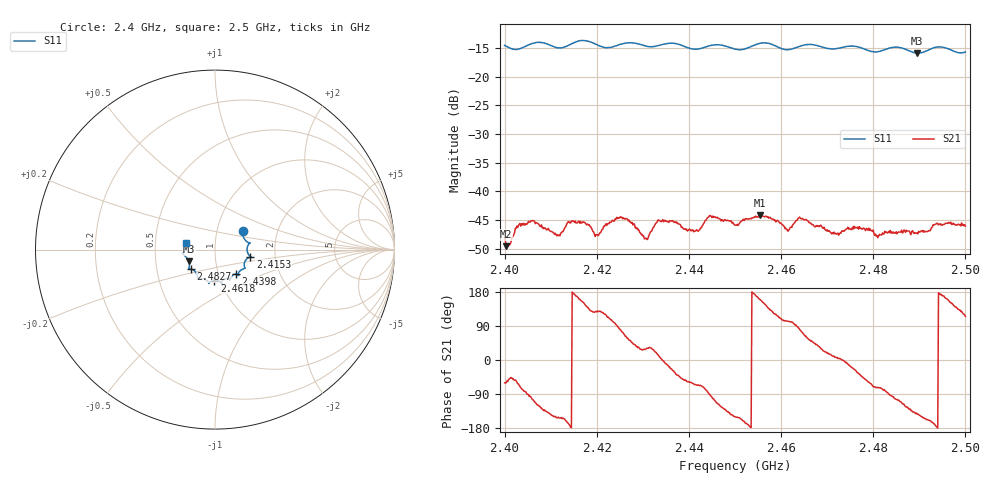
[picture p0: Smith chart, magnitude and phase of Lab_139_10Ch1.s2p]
# Hz S RI R 50
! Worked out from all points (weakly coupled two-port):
!   601 points, 2.4 GHz to 2.5 GHz, reference 50 ohm
!   highest |S21| = -44.18 dB at 2.4555 GHz (marker M1); lowest = -49.5 dB at 2.4003 GHz (marker M2)
!   lowest |S11| = -15.9 dB at 2.4895 GHz (marker M3), VSWR 1.38, Z = 37 - j5.03 ohm
!   |S11| at or under -10 dB: start of sweep to end of sweep
!   S12 and S22 are empty: the file has one direction only
!   S11 on the Smith chart (normalised r, x): 2.4 GHz: 1.33, +0.29; 2.4153 GHz: 1.48, -0.12; 2.4398 GHz: 1.21, -0.34; 2.4618 GHz: 0.94, -0.33; 2.4827 GHz: 0.75, -0.17; 2.5 GHz: 0.72, +0.06
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2.4e9  0.1549 0.1061  0.00196 -0.00342  0 0  0 0
2.400333e9  0.1545 0.1015  0.00166 -0.00289  0 0  0 0
2.405667e9  0.1893 0.038  -0.000712 -0.00549  0 0  0 0
2.4115e9  0.1786 0.00755  -0.00372 -0.00192  0 0  0 0
2.415333e9  0.1967 -0.039  -0.00545 0.000863  0 0  0 0
2.416667e9  0.2024 -0.0431  -0.00485 0.00218  0 0  0 0
2.42e9  0.1849 -0.0456  -0.00255 0.00335  0 0  0 0
2.4255e9  0.1659 -0.0995  0.00165 0.00572  0 0  0 0
2.430667e9  0.1463 -0.1134  0.00342 0.00192  0 0  0 0
2.433333e9  0.1303 -0.1341  0.0055 0.00132  0 0  0 0
2.439833e9  0.1153 -0.1363  0.0025 -0.00383  0 0  0 0
2.444667e9  0.0837 -0.1674  -0.000427 -0.00614  0 0  0 0
2.45e9  0.0649 -0.1617  -0.00436 -0.00259  0 0  0 0
2.4555e9  0.0372 -0.1923  -0.00575 0.00225  0 0  0 0
2.461833e9  -0.00336 -0.1729  -0.000944 0.00461  0 0  0 0
2.464167e9  -0.0291 -0.1829  0.0012 0.00575  0 0  0 0
2.466667e9  -0.0347 -0.1879  0.0033 0.00393  0 0  0 0
2.472167e9  -0.072 -0.1608  0.00428 0.000499  0 0  0 0
2.482667e9  -0.1348 -0.1088  0.000612 -0.00433  0 0  0 0
2.483333e9  -0.14 -0.1085  1.27e-05 -0.00447  0 0  0 0
2.4895e9  -0.1461 -0.0663  -0.00345 -0.00265  0 0  0 0
2.5e9  -0.1598 0.0388  -0.00211 0.00452  0 0  0 0
